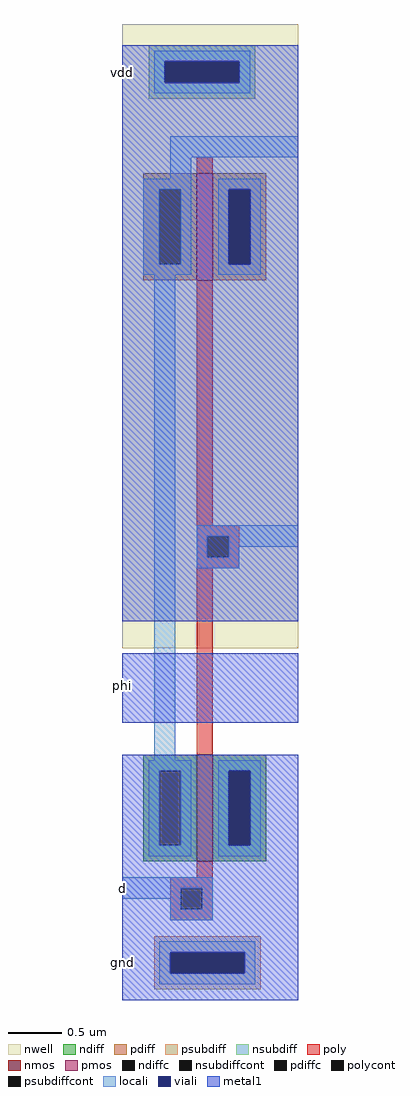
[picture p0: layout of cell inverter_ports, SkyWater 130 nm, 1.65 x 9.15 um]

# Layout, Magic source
magic
tech sky130A
<< nwell >>
rect -215 275 -50 860
<< nmos >>
rect -145 75 -130 175
<< pmos >>
rect -145 620 -130 720
<< ndiff >>
rect -195 160 -145 175
rect -195 90 -180 160
rect -160 90 -145 160
rect -195 75 -145 90
rect -130 160 -80 175
rect -130 90 -115 160
rect -95 90 -80 160
rect -130 75 -80 90
<< pdiff >>
rect -195 705 -145 720
rect -195 635 -180 705
rect -160 635 -145 705
rect -195 620 -145 635
rect -130 705 -80 720
rect -130 635 -115 705
rect -95 635 -80 705
rect -130 620 -80 635
<< ndiffc >>
rect -180 90 -160 160
rect -115 90 -95 160
<< pdiffc >>
rect -180 635 -160 705
rect -115 635 -95 705
<< psubdiff >>
rect -185 -10 -85 5
rect -185 -30 -170 -10
rect -100 -30 -85 -10
rect -185 -45 -85 -30
<< nsubdiff >>
rect -190 825 -90 840
rect -190 805 -175 825
rect -105 805 -90 825
rect -190 790 -90 805
<< psubdiffcont >>
rect -170 -30 -100 -10
<< nsubdiffcont >>
rect -175 805 -105 825
<< poly >>
rect -145 720 -130 735
rect -145 390 -130 620
rect -145 380 -105 390
rect -145 360 -135 380
rect -115 360 -105 380
rect -145 350 -105 360
rect -145 175 -130 350
rect -145 60 -130 75
rect -170 50 -130 60
rect -170 30 -160 50
rect -140 30 -130 50
rect -170 20 -130 30
<< polycont >>
rect -135 360 -115 380
rect -160 30 -140 50
<< locali >>
rect -185 825 -95 835
rect -185 805 -175 825
rect -105 805 -95 825
rect -185 795 -95 805
rect -170 735 -50 755
rect -170 715 -150 735
rect -195 705 -150 715
rect -195 635 -180 705
rect -160 635 -150 705
rect -195 625 -150 635
rect -125 705 -85 715
rect -125 635 -115 705
rect -95 635 -85 705
rect -125 625 -85 635
rect -185 170 -165 625
rect -145 380 -50 390
rect -145 360 -135 380
rect -115 370 -50 380
rect -115 360 -105 370
rect -145 350 -105 360
rect -190 160 -150 170
rect -190 90 -180 160
rect -160 90 -150 160
rect -190 80 -150 90
rect -125 160 -85 170
rect -125 90 -115 160
rect -95 90 -85 160
rect -125 80 -85 90
rect -215 50 -130 60
rect -215 40 -160 50
rect -170 30 -160 40
rect -140 30 -130 50
rect -170 20 -130 30
rect -180 -10 -90 0
rect -180 -30 -170 -10
rect -100 -30 -90 -10
rect -180 -40 -90 -30
<< viali >>
rect -175 805 -105 825
rect -115 635 -95 705
rect -115 90 -95 160
rect -170 -30 -100 -10
<< metal1 >>
rect -215 825 -50 840
rect -215 805 -175 825
rect -105 805 -50 825
rect -215 705 -50 805
rect -215 635 -115 705
rect -95 635 -50 705
rect -215 300 -50 635
rect -215 205 -50 270
rect -215 160 -50 175
rect -215 90 -115 160
rect -95 90 -50 160
rect -215 -10 -50 90
rect -215 -30 -170 -10
rect -100 -30 -50 -10
rect -215 -55 -50 -30
<< labels >>
rlabel locali -215 50 -215 50 7 d
port 1 w
rlabel metal1 -215 -20 -215 -20 7 gnd
port 4 w
rlabel metal1 -215 240 -215 240 7 phi
port 2 w
rlabel metal1 -215 815 -215 815 7 vdd
port 3 w
<< end >>
